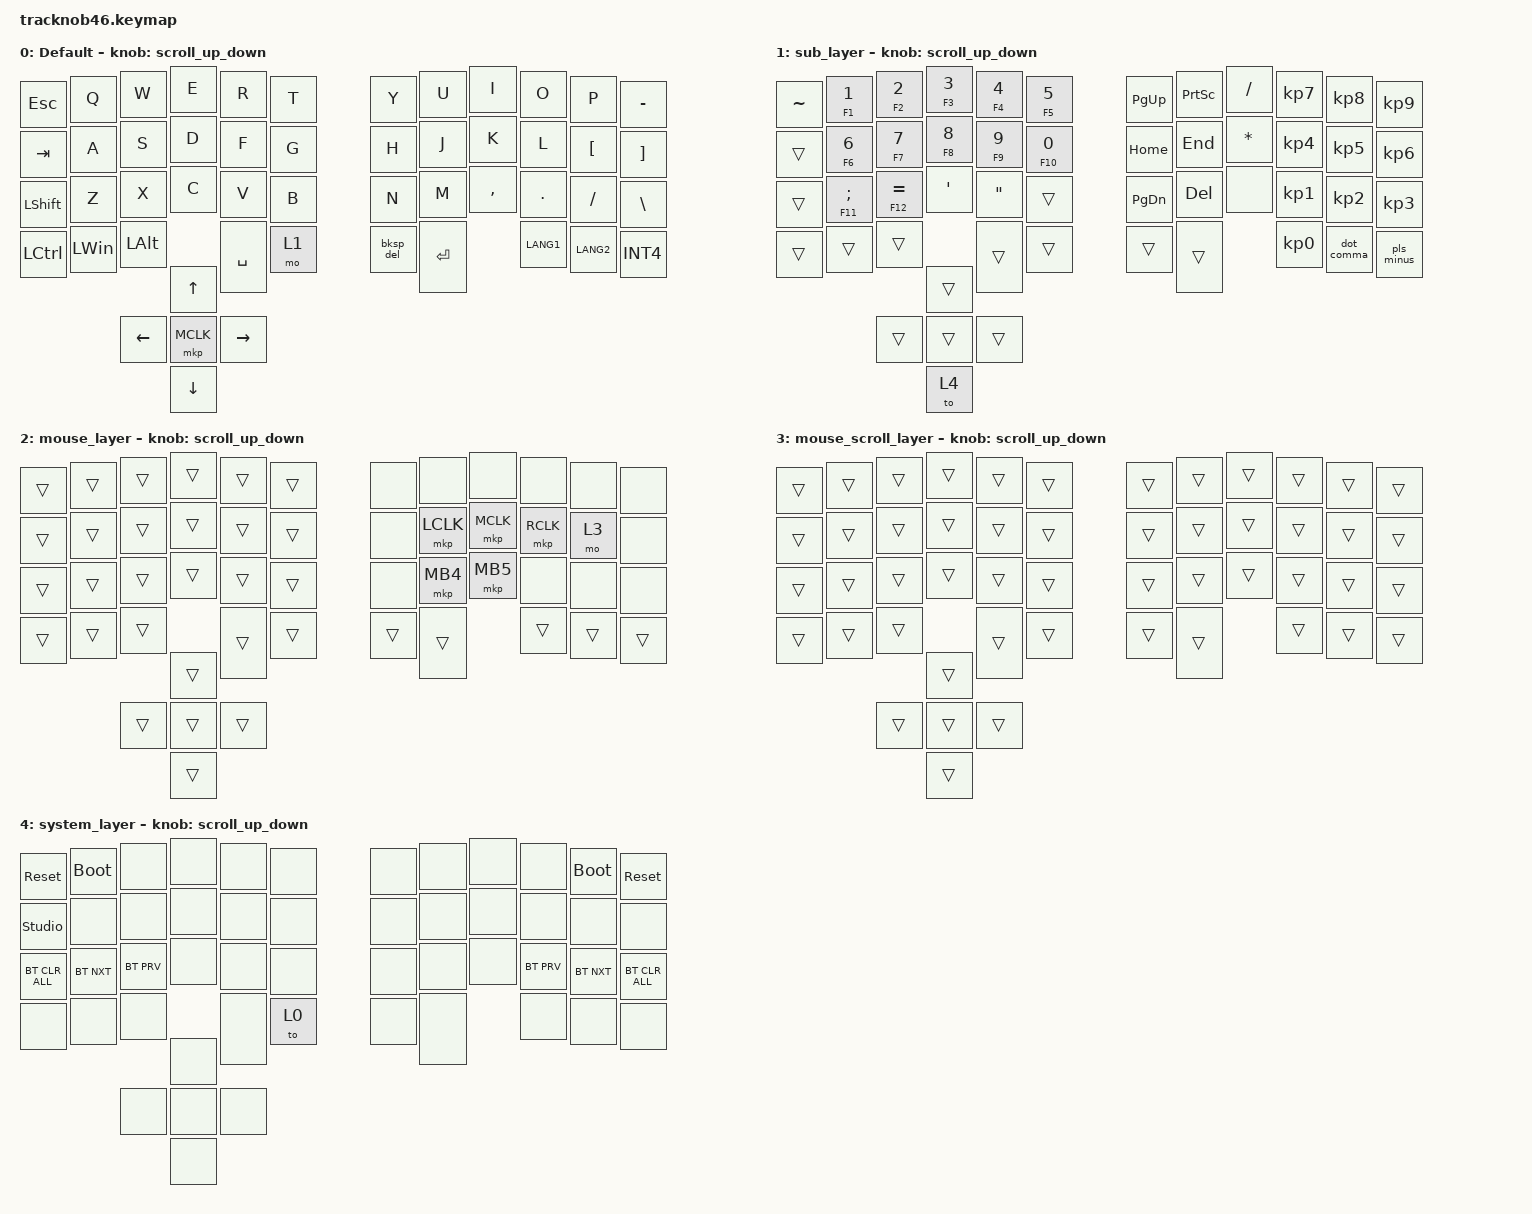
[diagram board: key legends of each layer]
/*
 * Copyright (c) 2020 The ZMK Contributors
 *
 * SPDX-License-Identifier: MIT
 */

#include <behaviors.dtsi>
#include <dt-bindings/zmk/bt.h>
#include <dt-bindings/zmk/keys.h>
#include <dt-bindings/zmk/pointing.h>
#include <input/processors.dtsi>

#define L_DEFAULT  0
#define L_NUMPAD   1
#define L_MOUSE    2
#define L_SCROLL   3
#define L_SYSTEM   4

// Mouse Scroll Value
#define ZMK_POINTING_DEFAULT_SCRL_VAL 100

// cirque trackpad input&layer control
&glidepoint_listener {
        input-processors = <&zip_xy_transform (INPUT_TRANSFORM_XY_SWAP | INPUT_TRANSFORM_X_INVERT | INPUT_TRANSFORM_Y_INVERT)>, <&zip_xy_scaler 3 2>, <&zip_temp_layer L_MOUSE 700>;
    
        lowspeedmode {
            layers = <L_NUMPAD>;
            input-processors = <&zip_xy_transform (INPUT_TRANSFORM_XY_SWAP | INPUT_TRANSFORM_X_INVERT | INPUT_TRANSFORM_Y_INVERT)>, <&zip_xy_scaler 3 4>, <&zip_temp_layer L_MOUSE 700>;
        };
        scroller {
            layers = <L_SCROLL>;
            input-processors = <&zip_xy_to_scroll_mapper>,<&zip_scroll_transform (INPUT_TRANSFORM_XY_SWAP | INPUT_TRANSFORM_Y_INVERT)>,<&zip_scroll_scaler 1 6>;
        };
};

/ {
    behaviors {
        // Encoder to Mouse Scroll
        scroll_up_down: behavior_sensor_rotate_mouse_wheel_up_down {
            compatible = "zmk,behavior-sensor-rotate";
            #sensor-binding-cells = <0>;
            bindings = <&msc SCRL_UP>, <&msc SCRL_DOWN>;

            tap-ms = <20>;
        };

        dot_comma: dot_comma {
            compatible = "zmk,behavior-mod-morph";
            #binding-cells = <0>;
            bindings = <&kp DOT>, <&kp COMMA>;

            mods = <(MOD_LSFT|MOD_RSFT)>;
            keep-mods = <(MOD_RSFT)>;
            label = "DOT_COMMA";
        };

        pls_minus: pls_minus {
            compatible = "zmk,behavior-mod-morph";
            #binding-cells = <0>;
            bindings = <&kp PLUS>, <&kp MINUS>;

            mods = <(MOD_LSFT|MOD_RSFT)>;
            keep-mods = <(MOD_RSFT)>;
            label = "PLS_MINUS";
        };

        bksp_del: backspace_delete {
            compatible = "zmk,behavior-mod-morph";
            #binding-cells = <0>;
            bindings = <&kp BACKSPACE>, <&kp DELETE>;

            mods = <(MOD_LSFT|MOD_RSFT)>;
            keep-mods = <(MOD_RSFT)>;
            label = "BCSP_DEL";
        };

        mt2: mod_tap2 {
            compatible = "zmk,behavior-hold-tap";
            #binding-cells = <2>;
            flavor = "tap-preferred";
            tapping-term-ms = <200>;
            quick-tap-ms = <200>;
            require-prior-idle-ms = <125>;
            bindings = <&kp>, <&kp>;
        };
    };

    keymap {
        compatible = "zmk,keymap";

        default_layer {
            display-name = "Default";
            sensor-bindings = <&scroll_up_down>;
            bindings = <
&kp ESC  &kp Q  &kp W  &kp E  &kp R  &kp T  &kp Y  &kp U  &kp I  &kp O  &kp P  &kp MINUS  &kp TAB  &kp A  &kp S  &kp D  &kp F  &kp G  &kp H  &kp J  &kp K  &kp L  &kp LBKT  &kp RBKT  &kp LSHFT  &kp Z  &kp X  &kp C  &kp V  &kp B  &kp N  &kp M  &kp COMMA  &kp PERIOD  &kp SLASH  &kp BSLH  &kp LCTRL  &kp LEFT_WIN  &kp LEFT_ALT  &kp SPACE  &mo 1  &bksp_del  &kp RET  &kp LANG1  &kp LANG2  &kp INT4  &kp UP  &kp LEFT  &kp DOWN  &kp RIGHT  &mkp MCLK
            >;
        };

        sub_layer {
            display-name = "sub_layer";
            sensor-bindings = <&scroll_up_down>;
            bindings = <
&kp TILDE  &mt2 F1 NUMBER_1  &mt2 F2 NUMBER_2  &mt2 F3 NUMBER_3  &mt2 F4 NUMBER_4  &mt2 F5 NUMBER_5  &kp PAGE_UP  &kp PRINTSCREEN  &kp SLASH  &kp KP_NUMBER_7  &kp KP_NUMBER_8  &kp KP_NUMBER_9  &trans  &mt2 F6 NUMBER_6  &mt2 F7 NUMBER_7  &mt2 F8 NUMBER_8  &mt2 F9 NUMBER_9  &mt2 F10 NUMBER_0  &kp HOME  &kp END  &kp ASTERISK  &kp KP_NUMBER_4  &kp KP_NUMBER_5  &kp KP_NUMBER_6  &trans  &mt2 F11 SEMICOLON  &mt2 F12 EQUAL  &kp SINGLE_QUOTE  &kp DOUBLE_QUOTES  &trans  &kp PAGE_DOWN  &kp DEL  &none  &kp KP_NUMBER_1  &kp KP_NUMBER_2  &kp KP_NUMBER_3  &trans  &trans  &trans  &trans  &trans  &trans  &trans  &kp KP_NUMBER_0  &dot_comma  &pls_minus  &trans  &trans  &to 4  &trans  &trans
            >;
        };

        mouse_layer {
            display-name = "mouse_layer";
            sensor-bindings = <&scroll_up_down>;
            bindings = <
&trans  &trans  &trans  &trans  &trans  &trans  &none  &none  &none  &none  &none  &none  &trans  &trans  &trans  &trans  &trans  &trans  &none  &mkp LCLK  &mkp MCLK  &mkp RCLK  &mo 3  &none  &trans  &trans  &trans  &trans  &trans  &trans  &none  &mkp MB4  &mkp MB5  &none  &none  &none  &trans  &trans  &trans  &trans  &trans  &trans  &trans  &trans  &trans  &trans  &trans  &trans  &trans  &trans  &trans
            >;
        };

        mouses_scroll_layer {
            display-name = "mouse_scroll_layer";
            sensor-bindings = <&scroll_up_down>;
            bindings = <
&trans  &trans  &trans  &trans  &trans  &trans  &trans  &trans  &trans  &trans  &trans  &trans  &trans  &trans  &trans  &trans  &trans  &trans  &trans  &trans  &trans  &trans  &trans  &trans  &trans  &trans  &trans  &trans  &trans  &trans  &trans  &trans  &trans  &trans  &trans  &trans  &trans  &trans  &trans  &trans  &trans  &trans  &trans  &trans  &trans  &trans  &trans  &trans  &trans  &trans  &trans
            >;
        };

        system_layer {
            display-name = "system_layer";
            sensor-bindings = <&scroll_up_down>;
            bindings = <
&sys_reset  &bootloader  &none  &none  &none  &none  &none  &none  &none  &none  &bootloader  &sys_reset  &studio_unlock  &none  &none  &none  &none  &none  &none  &none  &none  &none  &none  &none  &bt BT_CLR_ALL  &bt BT_NXT  &bt BT_PRV  &none  &none  &none  &none  &none  &none  &bt BT_PRV  &bt BT_NXT  &bt BT_CLR_ALL  &none  &none  &none  &none  &to 0  &none  &none  &none  &none  &none  &none  &none  &none  &none  &none
            >;
        };
    };
};
